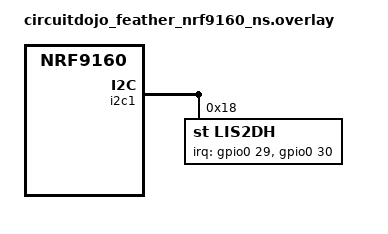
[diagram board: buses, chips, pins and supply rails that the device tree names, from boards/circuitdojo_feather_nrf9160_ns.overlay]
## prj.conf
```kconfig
# General
CONFIG_CBPRINTF_FP_SUPPORT=y

# Log
CONFIG_LOG=y

# Adding I2C
CONFIG_I2C=y

# Add the accelerometer
CONFIG_SENSOR=y
CONFIG_LIS2DH=y
CONFIG_LIS2DH_TRIGGER_GLOBAL_THREAD=y
# CONFIG_LIS2DH_ACCEL_RANGE_2G=y
# CONFIG_LIS2DH_ODR_2=y

# Zbus
CONFIG_ZBUS=y
CONFIG_ZBUS_LOG_LEVEL_INF=y
CONFIG_ZBUS_CHANNEL_NAME=y
CONFIG_ZBUS_OBSERVER_NAME=y
```

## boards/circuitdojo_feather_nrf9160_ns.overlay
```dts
/*
 * Copyright (c) 2020 Circuit Dojo LLC
 *
 * SPDX-License-Identifier: Apache-2.0
 */
 
&i2c1 {
	lis2dh@18 {
		compatible = "st,lis2dh";
		reg = <0x18>;
		irq-gpios = <&gpio0 29 GPIO_ACTIVE_HIGH>, <&gpio0 30 GPIO_ACTIVE_HIGH>;
		disconnect-sdo-sa0-pull-up;
	};
};
```

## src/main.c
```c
/*
 * Copyright (c) 2019 Nordic Semiconductor ASA
 *
 * SPDX-License-Identifier: Apache-2.0
 */

#include <stdio.h>
#include <zephyr/kernel.h>
#include <zephyr/device.h>
#include <zephyr/drivers/sensor.h>
#include <zephyr/zbus/zbus.h>
#include <zephyr/logging/log.h>
LOG_MODULE_REGISTER(main);

#include "../include/sensor.h"

/* Extern of sample_start_chan */
ZBUS_CHAN_DECLARE(sample_start_chan);

/* Polling on a fixed interval */
#ifndef CONFIG_LIS2DH_TRIGGER

/* Work */
static void start_work_handler(struct k_work *work)
{
    struct start_data start = {0};
    zbus_chan_pub(&sample_start_chan, &start, K_MSEC(500));
}

K_WORK_DEFINE(start_work, start_work_handler);

/* Timer handler*/
static void sample_timer_handler(struct k_timer *timer)
{
    k_work_submit(&start_work);
}

K_TIMER_DEFINE(sample_timer, sample_timer_handler, NULL);

/* Init function */
int timer_start_init(const struct device *dev)
{
    ARG_UNUSED(dev);

    k_timer_start(&sample_timer, K_SECONDS(1), K_SECONDS(1));

    return 0;
}

SYS_INIT(timer_start_init, APPLICATION, 99);
#endif

static void listener_cb(const struct zbus_channel *chan)
{
    const struct sensor_data *data = zbus_chan_const_msg(chan);

    LOG_INF("Got data! ts: %lli - x: %lf , y: %lf , z: %lf",
            data->ts,
            sensor_value_to_double(&data->value[0]),
            sensor_value_to_double(&data->value[1]),
            sensor_value_to_double(&data->value[2]));
}

ZBUS_LISTENER_DEFINE(sample_data_lis, listener_cb);
```

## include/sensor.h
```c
#ifndef APP_SENSOR_H
#define APP_SENSOR_H

#include <zephyr/drivers/sensor.h>

struct start_data
{
    bool started;
};

struct sensor_data
{
    int64_t ts;
    struct sensor_value value[3];
};

#endif
```

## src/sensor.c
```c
#include <stdio.h>

#include <zephyr/kernel.h>
#include <zephyr/device.h>
#include <zephyr/drivers/sensor.h>
#include <zephyr/zbus/zbus.h>
#include <zephyr/logging/log.h>
LOG_MODULE_REGISTER(sensor);

#include "../include/sensor.h"

const struct device *sensor = DEVICE_DT_GET(DT_ALIAS(accel0));

/* Zbus channels */
ZBUS_CHAN_DEFINE(sample_start_chan,                /* Name */
                 struct start_data,                /* Message type */
                 NULL,                             /* Validator */
                 NULL,                             /* User data */
                 ZBUS_OBSERVERS(sample_start_sub), /* observers */
                 ZBUS_MSG_INIT(false)              /* Initial value */
);

ZBUS_CHAN_DEFINE(sample_data_chan,                /* Name */
                 struct sensor_data,              /* Message type */
                 NULL,                            /* Validator */
                 NULL,                            /* User data */
                 ZBUS_OBSERVERS(sample_data_lis), /* observers */
                 ZBUS_MSG_INIT(0)                 /* Initial value is 0 */
);

#ifdef CONFIG_LIS2DH_TRIGGER
ZBUS_CHAN_DECLARE(sample_start_chan);

static void trigger_handler(const struct device *dev,
                            const struct sensor_trigger *trig)
{
    struct start_data start = {0};
    zbus_chan_pub(&sample_start_chan, &start, K_MSEC(500));
}
#endif

int sensor_init(void)
{

    if (!device_is_ready(sensor))
    {
        LOG_ERR("Could not get accel0 device");
        return -EIO;
    }

#if CONFIG_LIS2DH_TRIGGER
    {
        struct sensor_trigger trig;
        int rc;

        trig.type = SENSOR_TRIG_DATA_READY;
        trig.chan = SENSOR_CHAN_ACCEL_XYZ;

        if (IS_ENABLED(CONFIG_LIS2DH_ODR_RUNTIME))
        {
            struct sensor_value odr = {
                .val1 = 1,
            };

            rc = sensor_attr_set(sensor, trig.chan,
                                 SENSOR_ATTR_SAMPLING_FREQUENCY,
                                 &odr);
            if (rc != 0)
            {
                LOG_ERR("Failed to set odr: %d", rc);
                return rc;
            }
            LOG_INF("Sampling at %u Hz", odr.val1);
        }

        rc = sensor_trigger_set(sensor, &trig, trigger_handler);
        if (rc != 0)
        {
            LOG_ERR("Failed to set trigger: %d", rc);
            return rc;
        }

        LOG_INF("Waiting for triggers");
    }
#endif

    return 0;
}

SYS_INIT(sensor_init, APPLICATION, CONFIG_APPLICATION_INIT_PRIORITY);

ZBUS_SUBSCRIBER_DEFINE(sample_start_sub, 4);

static void sensor_task(void)
{
    const struct zbus_channel *chan;

    while (!zbus_sub_wait(&sample_start_sub, &chan, K_FOREVER))
    {
        LOG_INF("Get sample data!");

        int rc = 0;

        /* Get sample */
        rc = sensor_sample_fetch(sensor);
        if (rc == -EBADMSG)
        {
            /* Sample overrun.  Ignore in polled mode. */
            if (IS_ENABLED(CONFIG_LIS2DH_TRIGGER))
            {
                LOG_WRN("Overrun!\r\n");
            }
            rc = 0;
        }

        /* Continue if we fetched ok */
        if (rc == 0)
        {

            /* Get timestamp */
            struct sensor_data data = {.ts = k_uptime_get(), .value = {{0}}};

            rc = sensor_channel_get(sensor,
                                    SENSOR_CHAN_ACCEL_XYZ,
                                    data.value);
            if (rc == 0)
            {
                LOG_INF("Publishing sensor data!");
                zbus_chan_pub(&sample_data_chan, &data, K_MSEC(250));
            }
        }
    }
}

K_THREAD_DEFINE(sensor_task_id, 512, sensor_task, NULL, NULL, NULL, K_LOWEST_APPLICATION_THREAD_PRIO, 0, 0);
```
